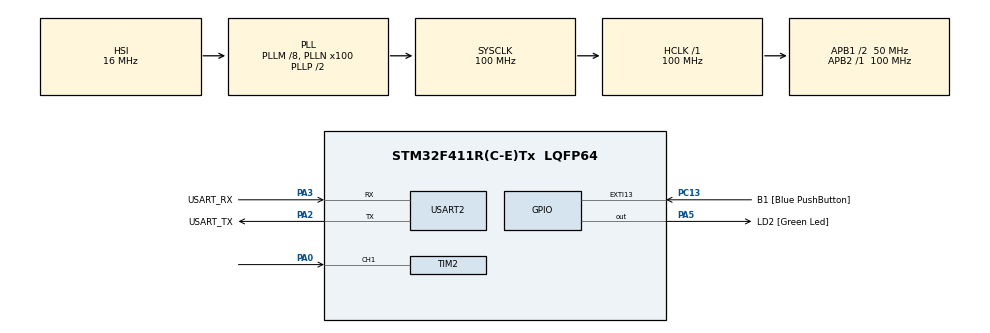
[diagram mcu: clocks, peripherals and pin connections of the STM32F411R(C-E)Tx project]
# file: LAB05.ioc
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Dma.Request0=TIM2_CH1
Dma.TIM2_CH1.0.Direction=DMA_PERIPH_TO_MEMORY
Dma.TIM2_CH1.0.FIFOMode=DMA_FIFOMODE_DISABLE
Dma.TIM2_CH1.0.Instance=DMA1_Stream5
Dma.TIM2_CH1.0.MemDataAlignment=DMA_MDATAALIGN_WORD
Dma.TIM2_CH1.0.MemInc=DMA_MINC_ENABLE
Dma.TIM2_CH1.0.Mode=DMA_CIRCULAR
Dma.TIM2_CH1.0.PeriphDataAlignment=DMA_PDATAALIGN_WORD
Dma.TIM2_CH1.0.PeriphInc=DMA_PINC_DISABLE
Dma.TIM2_CH1.0.Priority=DMA_PRIORITY_LOW
Mcu.Family=STM32F4
Mcu.Name=STM32F411R(C-E)Tx
Mcu.Package=LQFP64
NVIC.DMA1_Stream5_IRQn=true\:0\:0\:false\:false\:true\:false\:true
NVIC.PriorityGroup=NVIC_PRIORITYGROUP_0
NVIC.TIM2_IRQn=true\:0\:0\:false\:false\:true\:true\:true
NVIC.TIM5_IRQn=true\:0\:0\:false\:false\:true\:true\:true
PA0-WKUP.Signal=S_TIM2_CH1_ETR
PA13.GPIO_Label=TMS
PA13.Mode=Serial_Wire
PA13.Signal=SYS_JTMS-SWDIO
PA14.GPIO_Label=TCK
PA14.Mode=Serial_Wire
PA14.Signal=SYS_JTCK-SWCLK
PA2.GPIO_Label=USART_TX
PA2.Mode=Asynchronous
PA2.Signal=USART2_TX
PA3.GPIO_Label=USART_RX
PA3.Mode=Asynchronous
PA3.Signal=USART2_RX
PA5.GPIO_Label=LD2 [Green Led]
PA5.Signal=GPIO_Output
PB3.GPIO_Label=SWO
PB3.Signal=SYS_JTDO-SWO
PC13-ANTI_TAMP.GPIO_Label=B1 [Blue PushButton]
PC13-ANTI_TAMP.GPIO_ModeDefaultEXTI=GPIO_MODE_IT_FALLING
PC13-ANTI_TAMP.Signal=GPXTI13
PC14-OSC32_IN.Mode=LSE-External-Oscillator
PC14-OSC32_IN.Signal=RCC_OSC32_IN
PC15-OSC32_OUT.Mode=LSE-External-Oscillator
PC15-OSC32_OUT.Signal=RCC_OSC32_OUT
PH0\ -\ OSC_IN.Mode=HSE-External-Clock-Source
PH0\ -\ OSC_IN.Signal=RCC_OSC_IN
PH1\ -\ OSC_OUT.Mode=HSE-External-Clock-Source
PH1\ -\ OSC_OUT.Signal=RCC_OSC_OUT
ProjectManager.HeapSize=0x200
ProjectManager.StackSize=0x400
ProjectManager.TargetToolchain=STM32CubeIDE
RCC.48MHZClocksFreq_Value=50000000
RCC.AHBFreq_Value=100000000
RCC.APB1CLKDivider=RCC_HCLK_DIV2
RCC.APB1Freq_Value=50000000
RCC.APB1TimFreq_Value=100000000
RCC.APB2Freq_Value=100000000
RCC.APB2TimFreq_Value=100000000
RCC.CortexFreq_Value=100000000
RCC.FLatency-AdvancedSettings=FLASH_LATENCY_3
RCC.HCLKFreq_Value=100000000
RCC.HSE_VALUE=8000000
RCC.HSI_VALUE=16000000
RCC.PLLM=8
RCC.PLLN=100
RCC.SYSCLKFreq_VALUE=100000000
RCC.SYSCLKSource=RCC_SYSCLKSOURCE_PLLCLK
RCC.VCOOutputFreq_Value=200000000
SH.S_TIM2_CH1_ETR.0=TIM2_CH1,Input_Capture1_from_TI1
TIM2.Channel-Input_Capture1_from_TI1=TIM_CHANNEL_1
TIM2.ICFilter_CH1=2
TIM2.Period=4294967295
TIM2.Prescaler=99
TIM5.Prescaler=99
USART2.VirtualMode=VM_ASYNC
VP_TIM2_VS_ClockSourceINT.Mode=Internal
VP_TIM5_VS_OPM.Mode=OPM_bit
board=NUCLEO-F411RE

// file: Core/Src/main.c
/* USER CODE BEGIN Header */
/**
  ******************************************************************************
  * @file           : main.c
  * @brief          : Main program body
  ******************************************************************************
  * @attention
  *
  * <h2><center>&copy; Copyright (c) 2021 STMicroelectronics.
  * All rights reserved.</center></h2>
  *
  * This software component is licensed by ST under BSD 3-Clause license,
  * the "License"; You may not use this file except in compliance with the
  * License. You may obtain a copy of the License at:
  *                        opensource.org/licenses/BSD-3-Clause
  *
  ******************************************************************************
  */
/* USER CODE END Header */
#include "main.h"

/* USER CODE BEGIN PD */
#define capturenum 16
/* USER CODE END PD */

TIM_HandleTypeDef htim2;
TIM_HandleTypeDef htim5;
DMA_HandleTypeDef hdma_tim2_ch1;

UART_HandleTypeDef huart2;

/* USER CODE BEGIN PV */
uint32_t _micro = 0;
uint32_t Time = 0;
uint32_t capturedata[capturenum] = {0};
uint32_t Difftime[capturenum -1] = {0};
float Period = 0;
float Frequency = 0;
int RPM = 0;
int PPR = 12;
/* USER CODE END PV */

void SystemClock_Config(void);
static void MX_GPIO_Init(void);
static void MX_DMA_Init(void);
static void MX_USART2_UART_Init(void);
static void MX_TIM2_Init(void);
static void MX_TIM5_Init(void);
/* USER CODE BEGIN PFP */
uint64_t micro();
void ToggleLED();
void SpeedMotor();
/* USER CODE END PFP */

int main(void)
{

  /* MCU Configuration--------------------------------------------------------*/

  /* Reset of all peripherals, Initializes the Flash interface and the Systick. */
  HAL_Init();

  /* Configure the system clock */
  SystemClock_Config();

  /* Initialize all configured peripherals */
  MX_GPIO_Init();
  MX_DMA_Init();
  MX_USART2_UART_Init();
  MX_TIM2_Init();
  MX_TIM5_Init();
  /* USER CODE BEGIN 2 */
HAL_TIM_Base_Start_IT(&htim5);
HAL_TIM_Base_Start(&htim2);
HAL_TIM_IC_Start_DMA(&htim2, TIM_CHANNEL_1, (uint32_t*)capturedata, capturenum);
  /* USER CODE END 2 */

  /* Infinite loop */
  while (1)
  {

    /* USER CODE BEGIN 3 */
	  ToggleLED();
	  SpeedMotor();
  }
  /* USER CODE END 3 */
}

void SystemClock_Config(void)
{
  RCC_OscInitTypeDef RCC_OscInitStruct = {0};
  RCC_ClkInitTypeDef RCC_ClkInitStruct = {0};

  /** Configure the main internal regulator output voltage
  */
  __HAL_RCC_PWR_CLK_ENABLE();
  __HAL_PWR_VOLTAGESCALING_CONFIG(PWR_REGULATOR_VOLTAGE_SCALE1);
  /** Initializes the RCC Oscillators according to the specified parameters
  * in the RCC_OscInitTypeDef structure.
  */
  RCC_OscInitStruct.OscillatorType = RCC_OSCILLATORTYPE_HSI;
  RCC_OscInitStruct.HSIState = RCC_HSI_ON;
  RCC_OscInitStruct.HSICalibrationValue = RCC_HSICALIBRATION_DEFAULT;
  RCC_OscInitStruct.PLL.PLLState = RCC_PLL_ON;
  RCC_OscInitStruct.PLL.PLLSource = RCC_PLLSOURCE_HSI;
  RCC_OscInitStruct.PLL.PLLM = 8;
  RCC_OscInitStruct.PLL.PLLN = 100;
  RCC_OscInitStruct.PLL.PLLP = RCC_PLLP_DIV2;
  RCC_OscInitStruct.PLL.PLLQ = 4;
  if (HAL_RCC_OscConfig(&RCC_OscInitStruct) != HAL_OK)
  {
    Error_Handler();
  }
  /** Initializes the CPU, AHB and APB buses clocks
  */
  RCC_ClkInitStruct.ClockType = RCC_CLOCKTYPE_HCLK|RCC_CLOCKTYPE_SYSCLK
                              |RCC_CLOCKTYPE_PCLK1|RCC_CLOCKTYPE_PCLK2;
  RCC_ClkInitStruct.SYSCLKSource = RCC_SYSCLKSOURCE_PLLCLK;
  RCC_ClkInitStruct.AHBCLKDivider = RCC_SYSCLK_DIV1;
  RCC_ClkInitStruct.APB1CLKDivider = RCC_HCLK_DIV2;
  RCC_ClkInitStruct.APB2CLKDivider = RCC_HCLK_DIV1;

  if (HAL_RCC_ClockConfig(&RCC_ClkInitStruct, FLASH_LATENCY_3) != HAL_OK)
  {
    Error_Handler();
  }
}

static void MX_TIM2_Init(void)
{

  TIM_ClockConfigTypeDef sClockSourceConfig = {0};
  TIM_MasterConfigTypeDef sMasterConfig = {0};
  TIM_IC_InitTypeDef sConfigIC = {0};

  htim2.Instance = TIM2;
  htim2.Init.Prescaler = 99;
  htim2.Init.CounterMode = TIM_COUNTERMODE_UP;
  htim2.Init.Period = 4294967295;
  htim2.Init.ClockDivision = TIM_CLOCKDIVISION_DIV1;
  htim2.Init.AutoReloadPreload = TIM_AUTORELOAD_PRELOAD_DISABLE;
  if (HAL_TIM_Base_Init(&htim2) != HAL_OK)
  {
    Error_Handler();
  }
  sClockSourceConfig.ClockSource = TIM_CLOCKSOURCE_INTERNAL;
  if (HAL_TIM_ConfigClockSource(&htim2, &sClockSourceConfig) != HAL_OK)
  {
    Error_Handler();
  }
  if (HAL_TIM_IC_Init(&htim2) != HAL_OK)
  {
    Error_Handler();
  }
  sMasterConfig.MasterOutputTrigger = TIM_TRGO_RESET;
  sMasterConfig.MasterSlaveMode = TIM_MASTERSLAVEMODE_DISABLE;
  if (HAL_TIMEx_MasterConfigSynchronization(&htim2, &sMasterConfig) != HAL_OK)
  {
    Error_Handler();
  }
  sConfigIC.ICPolarity = TIM_INPUTCHANNELPOLARITY_RISING;
  sConfigIC.ICSelection = TIM_ICSELECTION_DIRECTTI;
  sConfigIC.ICPrescaler = TIM_ICPSC_DIV1;
  sConfigIC.ICFilter = 2;
  if (HAL_TIM_IC_ConfigChannel(&htim2, &sConfigIC, TIM_CHANNEL_1) != HAL_OK)
  {
    Error_Handler();
  }

}

static void MX_TIM5_Init(void)
{

  htim5.Instance = TIM5;
  htim5.Init.Prescaler = 99;
  htim5.Init.CounterMode = TIM_COUNTERMODE_UP;
  htim5.Init.Period = 4294967295;
  htim5.Init.ClockDivision = TIM_CLOCKDIVISION_DIV1;
  htim5.Init.AutoReloadPreload = TIM_AUTORELOAD_PRELOAD_DISABLE;
  if (HAL_TIM_OnePulse_Init(&htim5, TIM_OPMODE_SINGLE) != HAL_OK)
  {
    Error_Handler();
  }

}

static void MX_USART2_UART_Init(void)
{

  huart2.Instance = USART2;
  huart2.Init.BaudRate = 115200;
  huart2.Init.WordLength = UART_WORDLENGTH_8B;
  huart2.Init.StopBits = UART_STOPBITS_1;
  huart2.Init.Parity = UART_PARITY_NONE;
  huart2.Init.Mode = UART_MODE_TX_RX;
  huart2.Init.HwFlowCtl = UART_HWCONTROL_NONE;
  huart2.Init.OverSampling = UART_OVERSAMPLING_16;
  if (HAL_UART_Init(&huart2) != HAL_OK)
  {
    Error_Handler();
  }

}

static void MX_DMA_Init(void)
{

  /* DMA controller clock enable */
  __HAL_RCC_DMA1_CLK_ENABLE();

  /* DMA interrupt init */
  /* DMA1_Stream5_IRQn interrupt configuration */
  HAL_NVIC_SetPriority(DMA1_Stream5_IRQn, 0, 0);
  HAL_NVIC_EnableIRQ(DMA1_Stream5_IRQn);

}

static void MX_GPIO_Init(void)
{
  GPIO_InitTypeDef GPIO_InitStruct = {0};

  /* GPIO Ports Clock Enable */
  __HAL_RCC_GPIOC_CLK_ENABLE();
  __HAL_RCC_GPIOH_CLK_ENABLE();
  __HAL_RCC_GPIOA_CLK_ENABLE();
  __HAL_RCC_GPIOB_CLK_ENABLE();

  /*Configure GPIO pin Output Level */
  HAL_GPIO_WritePin(LD2_GPIO_Port, LD2_Pin, GPIO_PIN_RESET);

  /*Configure GPIO pin : B1_Pin */
  GPIO_InitStruct.Pin = B1_Pin;
  GPIO_InitStruct.Mode = GPIO_MODE_IT_FALLING;
  GPIO_InitStruct.Pull = GPIO_NOPULL;
  HAL_GPIO_Init(B1_GPIO_Port, &GPIO_InitStruct);

  /*Configure GPIO pin : LD2_Pin */
  GPIO_InitStruct.Pin = LD2_Pin;
  GPIO_InitStruct.Mode = GPIO_MODE_OUTPUT_PP;
  GPIO_InitStruct.Pull = GPIO_NOPULL;
  GPIO_InitStruct.Speed = GPIO_SPEED_FREQ_LOW;
  HAL_GPIO_Init(LD2_GPIO_Port, &GPIO_InitStruct);

}

/* USER CODE BEGIN 4 */
uint64_t micro()
{
	return _micro + htim5.Instance->CNT;
}
void HAL_TIM_PeriodElapsedCallback(TIM_HandleTypeDef *htim)
{
	if(htim == &htim5)
	{
		_micro += 4294967296;
	}
}
void ToggleLED()
{
	if(micro()-Time>=100000)
	{
		Time = micro();
		HAL_GPIO_TogglePin(LD2_GPIO_Port, LD2_Pin);
	}
}
void SpeedMotor()
{
	uint32_t Position = capturenum -  __HAL_DMA_GET_COUNTER(htim2.hdma[TIM_DMA_ID_CC1]);
	uint32_t Sum = 0;
	for( int i=0; i<capturenum-1; i++)
	{
		Difftime[i]=capturedata[(Position+1+i)%capturenum]-capturedata[(Position+i)%capturenum];
		if(Difftime[i]<0)
		{
			Difftime[i]+=4294967296;
		}
		Sum += Difftime[i];
	}
	Period = Sum / (float)(capturenum -1);
	Frequency = 1/(Period*0.000001);
	RPM = (Frequency * 60)/(PPR*64);
}
/* USER CODE END 4 */

void Error_Handler(void)
{
  __disable_irq();
  while (1)
  {
  }
}

/************************ (C) COPYRIGHT STMicroelectronics *****END OF FILE****/
